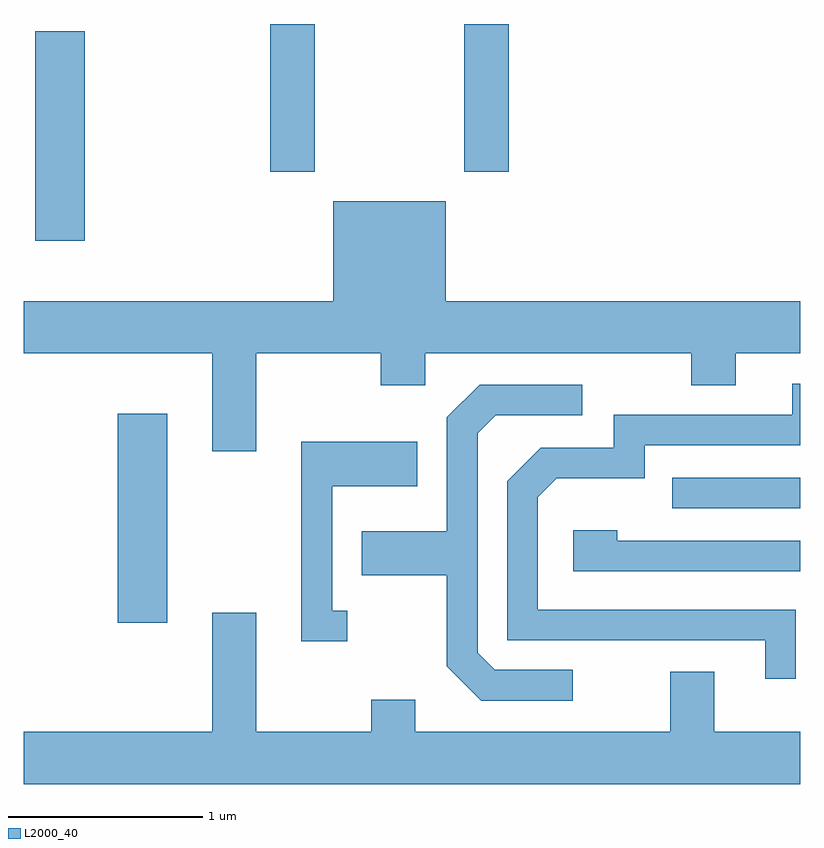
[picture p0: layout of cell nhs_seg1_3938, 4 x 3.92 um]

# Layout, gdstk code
import gdstk
lib = gdstk.Library(unit=1e-6, precision=1e-09)
def R(c, l, rs):  # rectangles x0, y0, x1, y1
    for r in rs: c.add(gdstk.rectangle(r[:2], r[2:], *l))
def P(c, l, *ps):  # polygons
    for p in ps: c.add(gdstk.Polygon(p, *l))
L2000_40 = (2000, 40)

nhs_seg1_3938 = lib.new_cell('nhs_seg1_3938')
R(nhs_seg1_3938, L2000_40, [(304.096,902.626,304.349,903.704), (306.953,903.216,307.611,903.374), (303.671,904.596,303.924,905.674), (304.881,904.951,305.109,905.712), (305.881,904.951,306.109,905.712)])
P(nhs_seg1_3938, L2000_40, [(304.809,904.016),(305.451,904.016),(305.451,903.851),(305.679,903.851),(305.679,904.016),(307.051,904.016),(307.051,903.851),(307.279,903.851),(307.279,904.016),(307.611,904.016),(307.611,904.284),(305.784,904.284),(305.784,904.799),(305.206,904.799),(305.206,904.284),(303.611,904.284),(303.611,904.016),(304.581,904.016),(304.581,903.511),(304.809,903.511)],
  [(307.589,902.694),(306.259,902.694),(306.259,903.274),(306.357,903.371),(306.809,903.371),(306.809,903.541),(307.611,903.541),(307.611,903.859),(307.571,903.859),(307.571,903.699),(306.651,903.699),(306.651,903.529),(306.274,903.529),(306.101,903.357),(306.101,902.536),(307.431,902.536),(307.431,902.338),(307.589,902.338)],
  [(306.438,902.384),(306.037,902.384),(305.949,902.472),(305.949,903.604),(306.042,903.696),(306.488,903.696),(306.488,903.854),(305.959,903.854),(305.791,903.687),(305.791,903.099),(305.351,903.099),(305.351,902.871),(305.791,902.871),(305.791,902.404),(305.969,902.226),(306.438,902.226)],
  [(305.278,902.689),(305.199,902.689),(305.199,903.331),(305.639,903.331),(305.639,903.559),(305.041,903.559),(305.041,902.531),(305.278,902.531)],
  [(307.611,903.049),(306.669,903.049),(306.669,903.104),(306.441,903.104),(306.441,902.891),(307.611,902.891)],
  [(307.611,902.064),(307.169,902.064),(307.169,902.374),(306.941,902.374),(306.941,902.064),(305.629,902.064),(305.629,902.229),(305.401,902.229),(305.401,902.064),(304.809,902.064),(304.809,902.679),(304.581,902.679),(304.581,902.064),(303.611,902.064),(303.611,901.796),(307.611,901.796)])

lib.write_gds('nhs_seg1_3938.gds')
